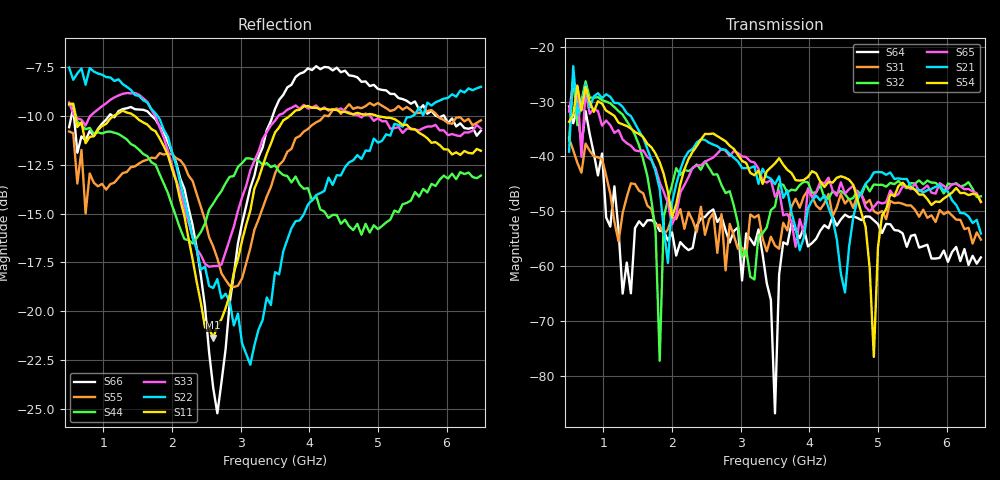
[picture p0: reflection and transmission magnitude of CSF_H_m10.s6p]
!Keysight Technologies,M9804A,MY58100912,A.14.10.03
!Date: Thursday, April 27, 2023 10:28:33
!Correction: S11(C  6-Port  )
!S12(C  6-Port  )
!S13(C  6-Port  )
!S14(C  6-Port  )
!S15(C  6-Port  )
!S16(C  6-Port  )
!S21(C  6-Port  )
!S22(C  6-Port  )
!S23(C  6-Port  )
!S24(C  6-Port  )
!S25(C  6-Port  )
!S26(C  6-Port  )
!S31(C  6-Port  )
!S32(C  6-Port  )
!S33(C  6-Port  )
!S34(C  6-Port  )
!S35(C  6-Port  )
!S36(C  6-Port  )
!S41(C  6-Port  )
!S42(C  6-Port  )
!S43(C  6-Port  )
!S44(C  6-Port  )
!S45(C  6-Port  )
!S46(C  6-Port  )
!S51(C  6-Port  )
!S52(C  6-Port  )
!S53(C  6-Port  )
!S54(C  6-Port  )
!S55(C  6-Port  )
!S56(C  6-Port  )
!S61(C  6-Port  )
!S62(C  6-Port  )
!S63(C  6-Port  )
!S64(C  6-Port  )
!S65(C  6-Port  )
!S66(C  6-Port  )
!S6P File: Measurement: :
# Hz S  RI  R 50
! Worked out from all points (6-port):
!   101 points, 500 MHz to 6.5 GHz, reference 50 ohm
!   strongest paths, dB at 500 MHz, 2 GHz, 3.5 GHz, 5 GHz, 6.5 GHz:
!     S54: -33.7, -51.1, -41.3, -56.6, -48.2
!     S21: -39.1, -48.4, -45.1, -42.8, -54.0
!     S65: -31.8, -52.4, -47.3, -48.3, -48.3
!     S32: -37.2, -45.1, -49.1, -45.2, -47.3
!     S31: -36.7, -51.1, -56.2, -50.4, -55.2
!     S64: -30.9, -53.8, -86.8, -52.3, -58.4
!   lowest |S11| = -21.4 dB at 2.6 GHz (marker M1), VSWR 1.19, Z = 42.4 + j2.32 ohm
!   |S11| at or under -10 dB: 591.9 MHz to 1.147 GHz (555.6 MHz wide, 63.9 % of centre); 1.458 GHz to 3.711 GHz (2.253 GHz wide, 87.2 % of centre); 4.994 GHz to end of sweep
